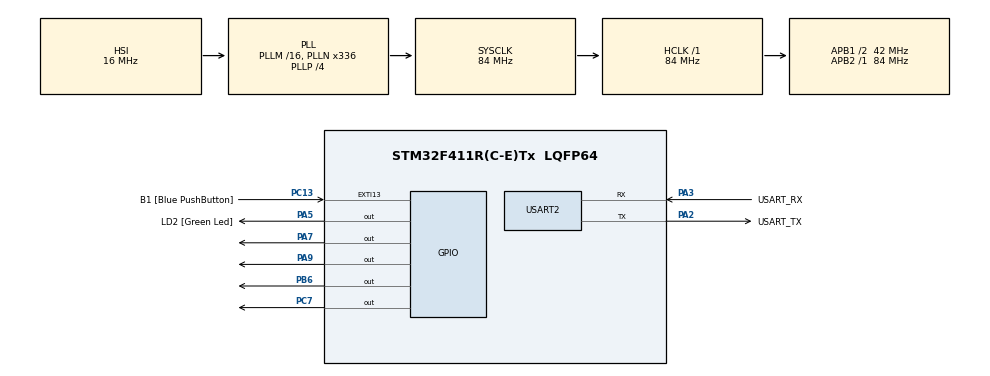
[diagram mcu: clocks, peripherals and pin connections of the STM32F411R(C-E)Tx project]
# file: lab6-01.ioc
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FREERTOS.Tasks01=defaultTask,0,128,StartDefaultTask,Default,NULL,Dynamic,NULL,NULL
Mcu.Family=STM32F4
Mcu.Name=STM32F411R(C-E)Tx
Mcu.Package=LQFP64
NVIC.PriorityGroup=NVIC_PRIORITYGROUP_4
PA13.GPIO_Label=TMS
PA13.Mode=Serial_Wire
PA13.Signal=SYS_JTMS-SWDIO
PA14.GPIO_Label=TCK
PA14.Mode=Serial_Wire
PA14.Signal=SYS_JTCK-SWCLK
PA2.GPIO_Label=USART_TX
PA2.Mode=Asynchronous
PA2.Signal=USART2_TX
PA3.GPIO_Label=USART_RX
PA3.Mode=Asynchronous
PA3.Signal=USART2_RX
PA5.GPIO_Label=LD2 [Green Led]
PA5.Signal=GPIO_Output
PA7.Signal=GPIO_Output
PA9.Signal=GPIO_Output
PB3.GPIO_Label=SWO
PB3.Signal=SYS_JTDO-SWO
PB6.Signal=GPIO_Output
PC13-ANTI_TAMP.GPIO_Label=B1 [Blue PushButton]
PC13-ANTI_TAMP.GPIO_ModeDefaultEXTI=GPIO_MODE_IT_FALLING
PC13-ANTI_TAMP.Signal=GPXTI13
PC14-OSC32_IN.Mode=LSE-External-Oscillator
PC14-OSC32_IN.Signal=RCC_OSC32_IN
PC15-OSC32_OUT.Mode=LSE-External-Oscillator
PC15-OSC32_OUT.Signal=RCC_OSC32_OUT
PC7.Signal=GPIO_Output
PH0\ -\ OSC_IN.Mode=HSE-External-Clock-Source
PH0\ -\ OSC_IN.Signal=RCC_OSC_IN
PH1\ -\ OSC_OUT.Mode=HSE-External-Clock-Source
PH1\ -\ OSC_OUT.Signal=RCC_OSC_OUT
ProjectManager.HeapSize=0x200
ProjectManager.StackSize=0x400
ProjectManager.TargetToolchain=STM32CubeIDE
RCC.48MHZClocksFreq_Value=84000000
RCC.AHBFreq_Value=84000000
RCC.APB1CLKDivider=RCC_HCLK_DIV2
RCC.APB1Freq_Value=42000000
RCC.APB1TimFreq_Value=84000000
RCC.APB2Freq_Value=84000000
RCC.APB2TimFreq_Value=84000000
RCC.CortexFreq_Value=84000000
RCC.FLatency-AdvancedSettings=FLASH_LATENCY_2
RCC.HCLKFreq_Value=84000000
RCC.HSE_VALUE=8000000
RCC.HSI_VALUE=16000000
RCC.PLLN=336
RCC.PLLP=RCC_PLLP_DIV4
RCC.SYSCLKFreq_VALUE=84000000
RCC.SYSCLKSource=RCC_SYSCLKSOURCE_PLLCLK
RCC.VCOOutputFreq_Value=336000000
USART2.VirtualMode=VM_ASYNC
VP_FREERTOS_VS_CMSIS_V1.Mode=CMSIS_V1
board=NUCLEO-F411RE

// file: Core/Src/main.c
/* USER CODE BEGIN Header */
/**
  ******************************************************************************
  * @file           : main.c
  * @brief          : Main program body
  ******************************************************************************
  * @attention
  *
  * Copyright (c) 2024 STMicroelectronics.
  * All rights reserved.
  *
  * This software is licensed under terms that can be found in the LICENSE file
  * in the root directory of this software component.
  * If no LICENSE file comes with this software, it is provided AS-IS.
  *
  ******************************************************************************
  */
/* USER CODE END Header */
#include "main.h"
#include "cmsis_os.h"

/* USER CODE BEGIN Includes */
#include <stdbool.h>
/* USER CODE END Includes */

UART_HandleTypeDef huart2;

osThreadId defaultTaskHandle;

void SystemClock_Config(void);
static void MX_GPIO_Init(void);
static void MX_USART2_UART_Init(void);
void StartDefaultTask(void const * argument);

/* USER CODE BEGIN 0 */
typedef struct {
	  GPIO_TypeDef* gpiox;
	  uint16_t gpio_pin;
	  uint32_t delay;
} LEDArgument;

const LEDArgument arguments[4] = {
		  {GPIOA, GPIO_PIN_9, 25},
		  {GPIOC, GPIO_PIN_7, 9},
		  {GPIOB, GPIO_PIN_6, 64},
		  {GPIOA, GPIO_PIN_7, 32}
};

void StartLedToggle(void const* argument) {
	LEDArgument* arg = (LEDArgument*)argument;

	while (true) {
        HAL_GPIO_TogglePin(arg->gpiox, arg->gpio_pin);
        osDelay(arg->delay);
    }
}
/* USER CODE END 0 */

int main(void)
{

  /* MCU Configuration--------------------------------------------------------*/

  /* Reset of all peripherals, Initializes the Flash interface and the Systick. */
  HAL_Init();

  /* Configure the system clock */
  SystemClock_Config();

  /* Initialize all configured peripherals */
  MX_GPIO_Init();
  MX_USART2_UART_Init();

  /* Create the thread(s) */
  /* definition and creation of defaultTask */
  osThreadDef(defaultTask, StartDefaultTask, osPriorityNormal, 0, 128);
  defaultTaskHandle = osThreadCreate(osThread(defaultTask), NULL);

  /* USER CODE BEGIN RTOS_THREADS */
  /* add threads, ... */
  osThreadDef(ledToggle, StartLedToggle, osPriorityNormal, 4, 128);

  osThreadCreate(osThread(ledToggle), (void *)(arguments + 0));
  osThreadCreate(osThread(ledToggle), (void *)(arguments + 1));
  osThreadCreate(osThread(ledToggle), (void *)(arguments + 2));
  osThreadCreate(osThread(ledToggle), (void *)(arguments + 3));
  /* USER CODE END RTOS_THREADS */

  /* Start scheduler */
  osKernelStart();

  /* We should never get here as control is now taken by the scheduler */
  /* Infinite loop */
  while (1)
  {

  }
}

void SystemClock_Config(void)
{
  RCC_OscInitTypeDef RCC_OscInitStruct = {0};
  RCC_ClkInitTypeDef RCC_ClkInitStruct = {0};

  /** Configure the main internal regulator output voltage
  */
  __HAL_RCC_PWR_CLK_ENABLE();
  __HAL_PWR_VOLTAGESCALING_CONFIG(PWR_REGULATOR_VOLTAGE_SCALE1);

  /** Initializes the RCC Oscillators according to the specified parameters
  * in the RCC_OscInitTypeDef structure.
  */
  RCC_OscInitStruct.OscillatorType = RCC_OSCILLATORTYPE_HSI;
  RCC_OscInitStruct.HSIState = RCC_HSI_ON;
  RCC_OscInitStruct.HSICalibrationValue = RCC_HSICALIBRATION_DEFAULT;
  RCC_OscInitStruct.PLL.PLLState = RCC_PLL_ON;
  RCC_OscInitStruct.PLL.PLLSource = RCC_PLLSOURCE_HSI;
  RCC_OscInitStruct.PLL.PLLM = 16;
  RCC_OscInitStruct.PLL.PLLN = 336;
  RCC_OscInitStruct.PLL.PLLP = RCC_PLLP_DIV4;
  RCC_OscInitStruct.PLL.PLLQ = 4;
  if (HAL_RCC_OscConfig(&RCC_OscInitStruct) != HAL_OK)
  {
    Error_Handler();
  }

  /** Initializes the CPU, AHB and APB buses clocks
  */
  RCC_ClkInitStruct.ClockType = RCC_CLOCKTYPE_HCLK|RCC_CLOCKTYPE_SYSCLK
                              |RCC_CLOCKTYPE_PCLK1|RCC_CLOCKTYPE_PCLK2;
  RCC_ClkInitStruct.SYSCLKSource = RCC_SYSCLKSOURCE_PLLCLK;
  RCC_ClkInitStruct.AHBCLKDivider = RCC_SYSCLK_DIV1;
  RCC_ClkInitStruct.APB1CLKDivider = RCC_HCLK_DIV2;
  RCC_ClkInitStruct.APB2CLKDivider = RCC_HCLK_DIV1;

  if (HAL_RCC_ClockConfig(&RCC_ClkInitStruct, FLASH_LATENCY_2) != HAL_OK)
  {
    Error_Handler();
  }
}

static void MX_USART2_UART_Init(void)
{

  huart2.Instance = USART2;
  huart2.Init.BaudRate = 115200;
  huart2.Init.WordLength = UART_WORDLENGTH_8B;
  huart2.Init.StopBits = UART_STOPBITS_1;
  huart2.Init.Parity = UART_PARITY_NONE;
  huart2.Init.Mode = UART_MODE_TX_RX;
  huart2.Init.HwFlowCtl = UART_HWCONTROL_NONE;
  huart2.Init.OverSampling = UART_OVERSAMPLING_16;
  if (HAL_UART_Init(&huart2) != HAL_OK)
  {
    Error_Handler();
  }

}

static void MX_GPIO_Init(void)
{
  GPIO_InitTypeDef GPIO_InitStruct = {0};

  /* GPIO Ports Clock Enable */
  __HAL_RCC_GPIOC_CLK_ENABLE();
  __HAL_RCC_GPIOH_CLK_ENABLE();
  __HAL_RCC_GPIOA_CLK_ENABLE();
  __HAL_RCC_GPIOB_CLK_ENABLE();

  /*Configure GPIO pin Output Level */
  HAL_GPIO_WritePin(GPIOA, LD2_Pin|GPIO_PIN_7|GPIO_PIN_9, GPIO_PIN_RESET);

  /*Configure GPIO pin Output Level */
  HAL_GPIO_WritePin(GPIOC, GPIO_PIN_7, GPIO_PIN_RESET);

  /*Configure GPIO pin Output Level */
  HAL_GPIO_WritePin(GPIOB, GPIO_PIN_6, GPIO_PIN_RESET);

  /*Configure GPIO pin : B1_Pin */
  GPIO_InitStruct.Pin = B1_Pin;
  GPIO_InitStruct.Mode = GPIO_MODE_IT_FALLING;
  GPIO_InitStruct.Pull = GPIO_NOPULL;
  HAL_GPIO_Init(B1_GPIO_Port, &GPIO_InitStruct);

  /*Configure GPIO pins : LD2_Pin PA7 PA9 */
  GPIO_InitStruct.Pin = LD2_Pin|GPIO_PIN_7|GPIO_PIN_9;
  GPIO_InitStruct.Mode = GPIO_MODE_OUTPUT_PP;
  GPIO_InitStruct.Pull = GPIO_NOPULL;
  GPIO_InitStruct.Speed = GPIO_SPEED_FREQ_LOW;
  HAL_GPIO_Init(GPIOA, &GPIO_InitStruct);

  /*Configure GPIO pin : PC7 */
  GPIO_InitStruct.Pin = GPIO_PIN_7;
  GPIO_InitStruct.Mode = GPIO_MODE_OUTPUT_PP;
  GPIO_InitStruct.Pull = GPIO_NOPULL;
  GPIO_InitStruct.Speed = GPIO_SPEED_FREQ_LOW;
  HAL_GPIO_Init(GPIOC, &GPIO_InitStruct);

  /*Configure GPIO pin : PB6 */
  GPIO_InitStruct.Pin = GPIO_PIN_6;
  GPIO_InitStruct.Mode = GPIO_MODE_OUTPUT_PP;
  GPIO_InitStruct.Pull = GPIO_NOPULL;
  GPIO_InitStruct.Speed = GPIO_SPEED_FREQ_LOW;
  HAL_GPIO_Init(GPIOB, &GPIO_InitStruct);

}

void StartDefaultTask(void const * argument)
{
  for(;;)
  {
    osDelay(1);
  }
}

void Error_Handler(void)
{
  __disable_irq();
  while (1)
  {
  }
}
